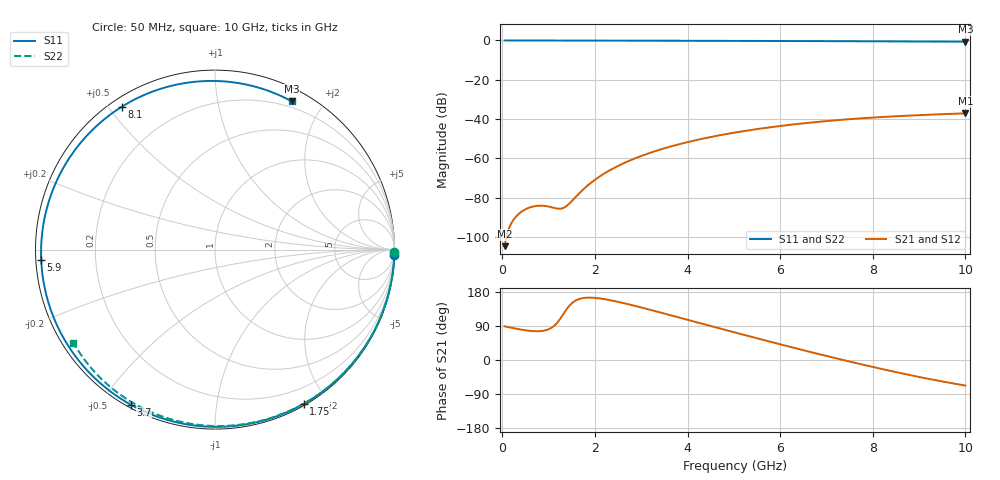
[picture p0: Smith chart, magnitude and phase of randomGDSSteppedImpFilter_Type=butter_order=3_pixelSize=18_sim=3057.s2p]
! freq	dB(S11)	phase(S11)	dB(S12)	phase(S12)
!  dB(S21)	phase(S21)	dB(S22)	phase(S22)
!S-par simulation data
#  GHz  S  DB  R 50
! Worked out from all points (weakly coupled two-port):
!   200 points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, 50 MHz to 10 GHz, reference 50 ohm
!   highest |S21| = -37.07 dB at 10 GHz (marker M1); lowest = -104.6 dB at 50 MHz (marker M2)
!   lowest |S11| = -0.6 dB at 10 GHz (marker M3), VSWR 27.57, Z = 6.69 + j81.8 ohm
!   |S11| at or under -10 dB: nowhere
!   |S22| runs from -0.5 to 0.0 dB; largest |S21 - S12| = 0
!   S11 on the Smith chart (normalised r, x): 50 MHz: 0, -64; 1.75 GHz: 0.02, -1.73; 3.7 GHz: 0.01, -0.60; 5.9 GHz: 0.02, -0.03; 8.1 GHz: 0.03, +0.54; 10 GHz: 0.13, +1.64
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0.05  -0.00 -1.8  -104.62 88.9  -104.62 88.9  -0.00 -0.9
0.4  -0.02 -14.2  -87.34 80.3  -87.34 80.3  -0.01 -6.8
0.75  -0.03 -26.4  -84.12 75.9  -84.12 75.9  -0.02 -12.7
1.15  -0.05 -40.2  -85.33 93.6  -85.33 93.6  -0.02 -19.4
1.55  -0.07 -53.6  -80.47 154.4  -80.47 154.4  -0.03 -26.1
1.75  -0.07 -60.1  -75.71 163.5  -75.71 163.5  -0.04 -29.3
2.05  -0.08 -69.8  -70.03 163.3  -70.03 163.3  -0.04 -34.3
2.45  -0.10 -82.2  -64.41 154.8  -64.41 154.8  -0.05 -40.7
2.9  -0.12 -95.7  -59.66 141.7  -59.66 141.7  -0.06 -47.9
3.4  -0.13 -110.1  -55.56 125.8  -55.56 125.8  -0.07 -55.7
3.7  -0.15 -118.5  -53.52 116.0  -53.52 116.0  -0.08 -60.4
4.4  -0.18 -137.4  -49.59 93.0  -49.59 93.0  -0.10 -70.9
5.05  -0.21 -154.5  -46.74 71.8  -46.74 71.8  -0.12 -80.4
5.9  -0.26 -176.5  -43.80 44.6  -43.80 44.6  -0.16 -92.5
6.7  -0.32 162.4  -41.67 19.8  -41.67 19.8  -0.20 -103.5
7.4  -0.38 143.3  -40.21 -1.2  -40.21 -1.2  -0.25 -112.8
8.1  -0.44 123.2  -39.07 -21.1  -39.07 -21.1  -0.30 -122.0
8.35  -0.46 115.7  -38.74 -27.9  -38.74 -27.9  -0.32 -125.3
8.8  -0.51 101.9  -38.20 -39.7  -38.20 -39.7  -0.36 -131.1
9.2  -0.54 89.1  -37.78 -49.6  -37.78 -49.6  -0.40 -136.3
9.6  -0.59 76.0  -37.41 -58.9  -37.41 -58.9  -0.45 -141.5
10  -0.63 62.7  -37.07 -67.5  -37.07 -67.5  -0.50 -146.6
